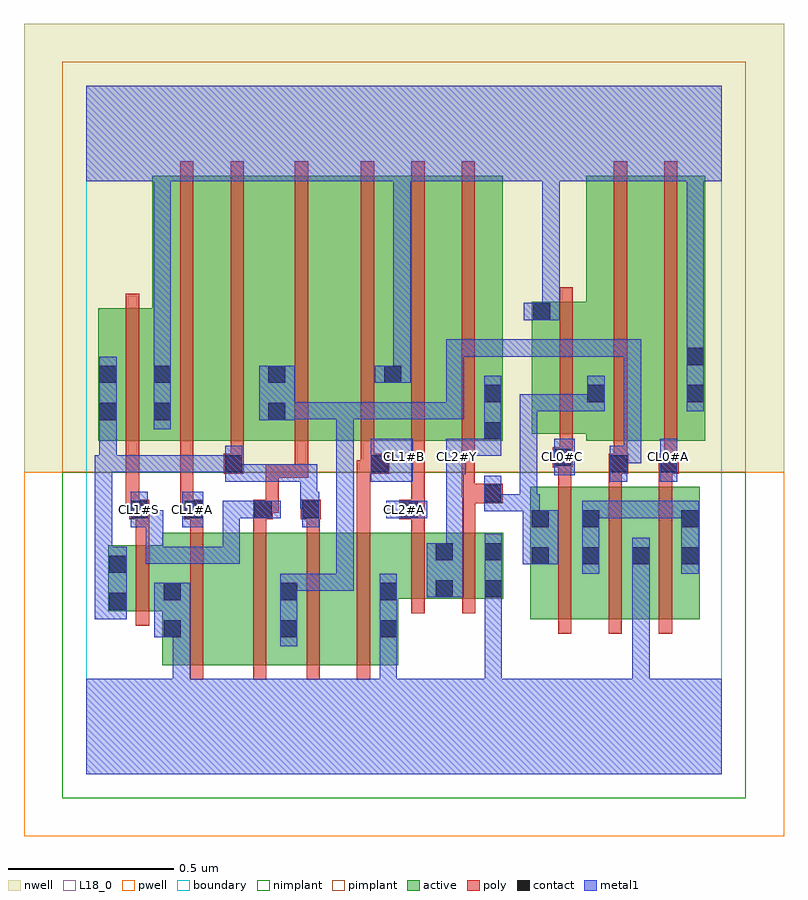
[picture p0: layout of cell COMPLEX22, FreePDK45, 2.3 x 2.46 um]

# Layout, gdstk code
import gdstk
lib = gdstk.Library(unit=1e-6, precision=1e-09)
def R(c, l, rs):  # rectangles x0, y0, x1, y1
    for r in rs: c.add(gdstk.rectangle(r[:2], r[2:], *l))
def A(c, l, x, y, w, h, nx, ny, dx, dy):  # array of equal rectangles
    R(c, l, [(x+i*dx, y+j*dy, x+i*dx+w, y+j*dy+h) for i in range(nx) for j in range(ny)])
active = (1, 0)
pwell = (2, 0)
nwell = (3, 0)
nimplant = (4, 0)
pimplant = (5, 0)
poly = (9, 0)
contact = (10, 0)
metal1 = (11, 0)
L18_0 = (18, 0)
boundary = (235, 0)

complex22 = lib.new_cell('COMPLEX22')
A(complex22, active, 1.342, 0.468, 0.06, 0.4, 3, 1, 0.152, 0)
R(complex22, active, [(0.23,0.33,0.41,0.73), (0.41,0.33,0.642,0.73), (0.582,0.33,0.762,0.73), (0.762,0.33,0.942,0.73), (0.882,0.33,0.942,0.582), (0.582,0.356,0.642,0.582), (0.23,0.41,0.29,0.582), (1.342,0.468,1.554,0.868), (1.494,0.468,1.706,0.868), (1.646,0.468,1.854,0.868), (1.794,0.468,1.854,0.868), (0.066,0.492,0.126,0.692), (0.066,0.492,0.29,0.692), (0.882,0.53,1.112,0.73), (1.052,0.53,1.26,0.73), (1.052,0.53,1.112,0.702), (1.2,0.53,1.26,0.73), (0.036,1.008,0.26,1.408), (0.036,1.008,0.096,1.356), (0.2,1.008,0.38,1.808), (0.2,1.008,0.26,1.356), (0.38,1.008,0.606,1.808), (0.546,1.008,0.748,1.808), (0.546,1.008,0.606,1.724), (0.748,1.008,0.956,1.808), (0.896,1.008,1.078,1.808), (1.078,1.008,1.258,1.808), (1.198,1.008,1.258,1.62), (1.51,1.008,1.69,1.808), (1.69,1.008,1.87,1.808), (1.81,1.008,1.87,1.756), (1.346,1.028,1.57,1.428), (1.51,1.12,1.57,1.62), (0.896,1.178,0.956,1.756), (1.346,1.192,1.406,1.428)])
R(complex22, pwell, [(-0.188,-0.188,2.108,0.912)])
R(complex22, nwell, [(-0.188,0.912,2.108,2.268)])
R(complex22, nimplant, [(-0.072,-0.072,1.992,0.912)])
R(complex22, pimplant, [(-0.072,0.912,1.992,2.152)])
A(complex22, poly, 1.426, 0.424, 0.04, 0.488, 3, 1, 0.152, 0)
A(complex22, poly, 0.83, 0.964, 0.04, 0.888, 3, 1, 0.152, 0)
R(complex22, poly, [(0.314,0.286,0.354,0.774), (0.504,0.286,0.544,0.774), (0.666,0.286,0.706,0.774), (0.818,0.286,0.858,0.774), (0.15,0.448,0.19,0.736), (0.982,0.486,1.022,0.774), (1.136,0.486,1.176,0.774), (0.15,0.696,0.19,0.81), (0.314,0.734,0.354,0.81), (0.504,0.734,0.544,0.81), (0.666,0.734,0.706,0.81), (0.818,0.734,0.858,0.948), (0.982,0.734,1.022,0.81), (1.136,0.734,1.176,0.858), (0.13,0.77,0.19,0.83), (0.294,0.77,0.354,0.83), (0.504,0.77,0.564,0.83), (0.648,0.77,0.708,0.83), (0.946,0.77,1.022,0.83), (0.12,0.79,0.16,1.004), (0.12,0.79,0.17,0.83), (0.13,0.79,0.17,0.83), (0.284,0.79,0.324,1.004), (0.284,0.79,0.334,0.83), (0.294,0.79,0.334,0.83), (0.524,0.79,0.582,0.83), (0.542,0.79,0.582,0.83), (0.542,0.79,0.582,0.936), (0.982,0.79,1.022,0.83), (0.982,0.79,1.022,0.83), (0.982,0.79,1.022,1.004), (1.136,0.818,1.258,0.878), (1.134,0.838,1.174,1.004), (1.134,0.838,1.176,0.878), (1.136,0.838,1.176,0.878), (1.426,0.872,1.466,0.968), (1.578,0.872,1.618,0.948), (1.73,0.872,1.77,0.948), (0.542,0.896,0.582,0.936), (0.542,0.896,0.67,0.936), (0.63,0.896,0.67,0.936), (0.63,0.896,0.67,1.004), (0.416,0.908,0.476,0.968), (0.818,0.908,0.87,0.948), (0.83,0.908,0.87,0.948), (0.83,0.908,0.916,0.968), (1.578,0.908,1.618,0.948), (1.578,0.908,1.618,0.948), (1.578,0.908,1.638,0.968), (1.73,0.908,1.77,0.948), (1.73,0.908,1.77,0.948), (1.73,0.908,1.79,0.968), (0.436,0.928,0.476,1.004), (0.83,0.928,0.87,1.004), (1.41,0.928,1.47,0.988), (1.426,0.928,1.466,0.968), (1.426,0.928,1.466,0.968), (1.594,0.928,1.634,1.004), (1.746,0.928,1.786,1.004), (1.43,0.948,1.47,1.024), (0.12,0.964,0.16,1.452), (0.284,0.964,0.324,1.852), (0.436,0.964,0.476,1.852), (0.63,0.964,0.67,1.852), (1.594,0.964,1.634,1.852), (1.746,0.964,1.786,1.852), (1.43,0.984,1.47,1.472)])
A(complex22, contact, 1.346, 0.634, 0.052, 0.052, 3, 1, 0.152, 0)
R(complex22, contact, [(0.234,0.414,0.286,0.466), (0.586,0.414,0.638,0.466), (0.886,0.414,0.938,0.466), (0.07,0.496,0.122,0.548), (0.234,0.526,0.286,0.578), (0.586,0.526,0.638,0.578), (0.886,0.526,0.938,0.578), (1.056,0.534,1.108,0.586), (1.204,0.534,1.256,0.586), (0.07,0.608,0.122,0.66), (1.798,0.634,1.85,0.686), (1.056,0.646,1.108,0.698), (1.204,0.646,1.256,0.698), (1.346,0.746,1.398,0.798), (1.498,0.746,1.55,0.798), (1.798,0.746,1.85,0.798), (0.134,0.774,0.186,0.826), (0.298,0.774,0.35,0.826), (0.508,0.774,0.56,0.826), (0.652,0.774,0.704,0.826), (0.95,0.774,1.002,0.826), (1.202,0.822,1.254,0.874), (0.42,0.912,0.472,0.964), (0.86,0.912,0.912,0.964), (1.582,0.912,1.634,0.964), (1.734,0.912,1.786,0.964), (1.414,0.932,1.466,0.984), (1.202,1.012,1.254,1.064), (0.04,1.07,0.092,1.122), (0.204,1.07,0.256,1.122), (0.55,1.07,0.602,1.122), (1.202,1.124,1.254,1.176), (1.514,1.124,1.566,1.176), (1.814,1.124,1.866,1.176), (0.04,1.182,0.092,1.234), (0.204,1.182,0.256,1.234), (0.55,1.182,0.602,1.234), (0.9,1.182,0.952,1.234), (1.814,1.236,1.866,1.288), (1.35,1.372,1.402,1.424)])
A(complex22, metal1, 0.412, 0.636, 0.052, 0.052, 1, 3, 0, 0.138)
R(complex22, metal1, [(0,0,1.92,0.288), (0.262,0.236,0.314,0.466), (0.886,0.236,0.938,0.288), (0.886,0.236,0.938,0.288), (0.886,0.236,0.938,0.438), (1.204,0.236,1.256,0.288), (1.204,0.236,1.256,0.288), (1.204,0.236,1.256,0.288), (1.204,0.236,1.256,0.288), (1.204,0.236,1.256,0.288), (1.204,0.236,1.256,0.288), (1.204,0.236,1.256,0.558), (1.65,0.236,1.702,0.288), (1.65,0.236,1.702,0.288), (1.65,0.236,1.702,0.658), (0.586,0.386,0.638,0.606), (0.886,0.386,0.938,0.606), (0.206,0.414,0.314,0.578), (0.262,0.414,0.314,0.466), (0.262,0.414,0.314,0.466), (0.026,0.468,0.122,0.688), (1.204,0.506,1.256,0.726), (1.028,0.534,1.14,0.698), (0.586,0.554,0.698,0.606), (0.646,0.554,0.698,0.606), (0.646,0.554,0.808,0.606), (0.756,0.554,0.808,0.606), (0.756,0.554,0.808,0.606), (0.756,0.554,0.808,0.606), (0.756,0.554,0.808,0.606), (0.756,0.554,0.808,0.606), (0.756,0.554,0.808,1.124), (1.498,0.606,1.55,0.826), (1.65,0.606,1.702,0.714), (1.798,0.606,1.85,0.826), (1.318,0.634,1.426,0.798), (0.026,0.636,0.078,0.688), (0.026,0.636,0.078,0.688), (0.026,0.636,0.078,0.964), (0.18,0.636,0.232,0.688), (0.18,0.636,0.296,0.688), (0.18,0.636,0.232,0.798), (0.244,0.636,0.296,0.688), (0.244,0.636,0.464,0.688), (0.412,0.636,0.464,0.826), (1.088,0.646,1.14,0.958), (0.134,0.746,0.186,0.854), (0.134,0.746,0.232,0.798), (0.18,0.746,0.232,0.798), (0.29,0.746,0.354,0.854), (0.652,0.746,0.704,0.854), (1.318,0.746,1.37,0.846), (0.412,0.774,0.532,0.826), (0.48,0.774,0.588,0.826), (0.906,0.774,1.03,0.826), (1.498,0.774,1.55,0.826), (1.498,0.774,1.55,0.826), (1.498,0.774,1.706,0.826), (1.654,0.774,1.706,0.826), (1.654,0.774,1.85,0.826), (1.798,0.774,1.85,0.826), (1.798,0.774,1.85,0.826), (1.202,0.794,1.254,0.902), (1.202,0.794,1.256,0.846), (1.204,0.794,1.256,0.846), (1.204,0.794,1.362,0.846), (1.31,0.794,1.362,1.148), (1.31,0.794,1.37,0.846), (0.646,0.802,0.698,0.854), (0.646,0.802,0.704,0.854), (0.646,0.802,0.698,0.936), (0.42,0.884,0.472,0.992), (0.42,0.884,0.698,0.936), (0.646,0.884,0.698,0.936), (0.86,0.884,0.986,1.014), (1.582,0.884,1.634,0.992), (1.734,0.884,1.786,1.014), (1.414,0.904,1.476,1.014), (1.088,0.906,1.146,1.014), (0.026,0.912,0.092,0.964), (0.04,0.912,0.092,0.964), (0.04,0.912,0.092,0.964), (0.04,0.912,0.296,0.964), (0.04,0.912,0.092,1.094), (0.244,0.912,0.296,0.964), (0.244,0.912,0.296,0.964), (0.244,0.912,0.296,0.964), (0.244,0.912,0.464,0.964), (0.412,0.912,0.472,0.964), (1.582,0.94,1.676,0.992), (1.624,0.94,1.676,0.992), (1.624,0.94,1.676,0.992), (1.624,0.94,1.676,0.992), (1.624,0.94,1.676,1.314), (1.092,0.962,1.144,1.014), (1.092,0.962,1.144,1.014), (1.092,0.962,1.144,1.014), (1.092,0.962,1.144,1.014), (1.092,0.962,1.254,1.014), (1.202,0.962,1.254,1.014), (1.202,0.962,1.254,1.036), (1.202,0.984,1.254,1.204), (0.04,1.042,0.092,1.262), (0.204,1.042,0.256,1.262), (0.522,1.07,0.63,1.234), (0.578,1.072,0.704,1.124), (0.652,1.072,0.704,1.124), (0.652,1.072,0.808,1.124), (0.756,1.072,0.808,1.124), (0.756,1.072,0.814,1.124), (0.762,1.072,0.814,1.124), (0.762,1.072,0.924,1.124), (0.872,1.072,0.924,1.124), (0.872,1.072,0.924,1.124), (0.872,1.072,0.924,1.124), (0.872,1.072,1.14,1.124), (1.088,1.072,1.14,1.124), (1.088,1.072,1.14,1.314), (1.31,1.096,1.362,1.148), (1.31,1.096,1.362,1.148), (1.31,1.096,1.362,1.148), (1.31,1.096,1.44,1.148), (1.388,1.096,1.44,1.148), (1.388,1.096,1.566,1.148), (1.514,1.096,1.566,1.204), (1.814,1.096,1.866,1.316), (0.872,1.182,0.98,1.234), (0.928,1.182,0.98,1.844), (0.204,1.21,0.256,1.844), (1.088,1.262,1.14,1.314), (1.088,1.262,1.14,1.314), (1.088,1.262,1.14,1.314), (1.088,1.262,1.256,1.314), (1.204,1.262,1.256,1.314), (1.204,1.262,1.386,1.314), (1.334,1.262,1.386,1.314), (1.334,1.262,1.386,1.314), (1.334,1.262,1.386,1.314), (1.334,1.262,1.496,1.314), (1.444,1.262,1.496,1.314), (1.444,1.262,1.676,1.314), (1.624,1.262,1.676,1.314), (1.624,1.262,1.676,1.314), (1.624,1.262,1.676,1.314), (1.814,1.264,1.866,1.844), (1.322,1.372,1.43,1.424), (1.378,1.372,1.43,1.424), (1.378,1.372,1.43,1.424), (1.378,1.372,1.43,1.424), (1.378,1.372,1.43,1.424), (1.378,1.372,1.43,1.424), (1.378,1.372,1.43,1.424), (1.378,1.372,1.43,1.844), (0,1.792,1.92,2.08), (1.378,1.792,1.43,1.844), (1.378,1.792,1.43,1.844)])
A(complex22, L18_0, 1.094, 0.934, 0.052, 0.052, 3, 1, 0.32, 0)
R(complex22, L18_0, [(0,0,1.92,0.288), (0.262,0.236,0.314,0.466), (0.886,0.236,0.938,0.288), (0.886,0.236,0.938,0.288), (0.886,0.236,0.938,0.438), (1.204,0.236,1.256,0.288), (1.204,0.236,1.256,0.288), (1.204,0.236,1.256,0.288), (1.204,0.236,1.256,0.288), (1.204,0.236,1.256,0.288), (1.204,0.236,1.256,0.288), (1.204,0.236,1.256,0.558), (1.65,0.236,1.702,0.288), (1.65,0.236,1.702,0.288), (1.65,0.236,1.702,0.658), (0.886,0.386,0.938,0.606), (0.206,0.414,0.314,0.578), (0.262,0.414,0.314,0.466), (0.262,0.414,0.314,0.466), (1.204,0.506,1.256,0.726), (1.028,0.534,1.14,0.698), (1.65,0.606,1.702,0.714), (0.18,0.636,0.232,0.688), (0.18,0.636,0.232,0.798), (0.18,0.636,0.296,0.688), (0.244,0.636,0.296,0.688), (0.244,0.636,0.464,0.688), (0.412,0.636,0.464,0.688), (0.412,0.636,0.464,0.826), (1.088,0.646,1.14,0.958), (0.134,0.746,0.186,0.854), (0.134,0.746,0.232,0.798), (0.18,0.746,0.232,0.798), (0.29,0.746,0.354,0.854), (0.134,0.774,0.186,0.826), (0.294,0.774,0.346,0.826), (0.412,0.774,0.464,0.826), (0.412,0.774,0.532,0.826), (0.48,0.774,0.588,0.826), (0.906,0.774,1.03,0.826), (0.934,0.774,0.986,0.826), (0.86,0.884,0.986,1.014), (1.734,0.884,1.786,1.014), (1.414,0.904,1.476,1.014), (1.088,0.906,1.146,1.014), (0.934,0.934,0.986,0.986), (1.092,0.962,1.144,1.014), (1.092,0.962,1.144,1.014), (1.092,0.962,1.144,1.014), (1.092,0.962,1.144,1.014), (1.092,0.962,1.254,1.014), (1.202,0.962,1.254,1.014), (1.202,0.962,1.254,1.036), (1.202,0.984,1.254,1.204), (0.204,1.042,0.256,1.262), (1.814,1.096,1.866,1.316), (0.872,1.182,0.98,1.234), (0.928,1.182,0.98,1.844), (0.204,1.21,0.256,1.844), (1.814,1.264,1.866,1.844), (1.322,1.372,1.43,1.424), (1.378,1.372,1.43,1.424), (1.378,1.372,1.43,1.424), (1.378,1.372,1.43,1.424), (1.378,1.372,1.43,1.424), (1.378,1.372,1.43,1.424), (1.378,1.372,1.43,1.424), (1.378,1.372,1.43,1.844), (0,1.792,1.92,2.08), (1.378,1.792,1.43,1.844), (1.378,1.792,1.43,1.844)])
R(complex22, boundary, [(0,0,1.92,2.08)])
complex22.add(gdstk.Label('CL0#A', (1.76,0.96), layer=11, texttype=0))
complex22.add(gdstk.Label('CL0#C', (1.44,0.96), layer=11, texttype=0))
complex22.add(gdstk.Label('CL1#A', (0.32,0.8), layer=11, texttype=0))
complex22.add(gdstk.Label('CL1#B', (0.96,0.96), layer=11, texttype=0))
complex22.add(gdstk.Label('CL1#S', (0.16,0.8), layer=11, texttype=0))
complex22.add(gdstk.Label('CL2#A', (0.96,0.8), layer=11, texttype=0))
complex22.add(gdstk.Label('CL2#Y', (1.12,0.96), layer=11, texttype=0))

lib.write_gds('COMPLEX22.gds')
